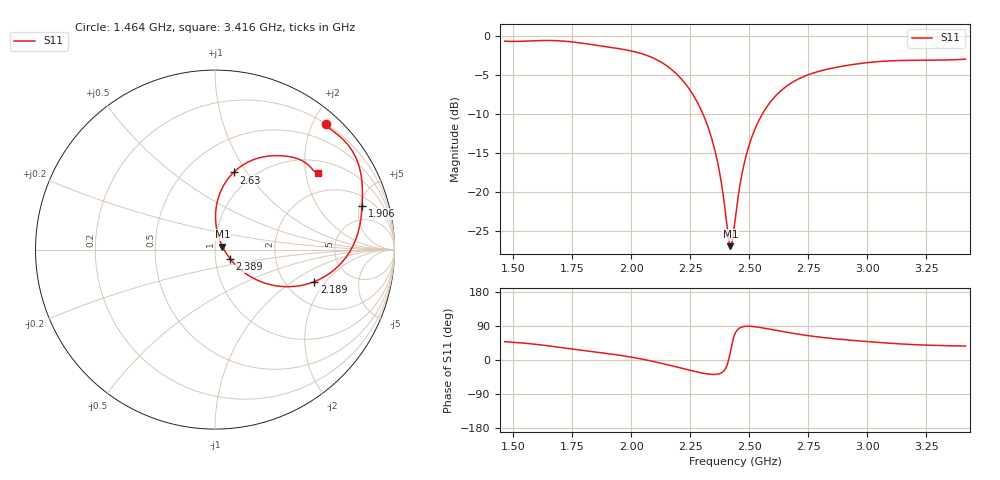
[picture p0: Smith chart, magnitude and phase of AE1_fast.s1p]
! AE1 openEMS fast: lumped port at the feed pad (in-plane on F.Cu to the GND copper at (0.50, 0.00)), not de-embedded
# Hz S RI R 50
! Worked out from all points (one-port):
!   801 points, 1.464 GHz to 3.416 GHz, reference 50 ohm
!   lowest |S11| = -26.9 dB at 2.42 GHz (marker M1), VSWR 1.09, Z = 54.3 + j1.85 ohm
!   |S11| at or under -10 dB: 2.305 GHz to 2.555 GHz (250 MHz wide, 10.3 % of centre)
!   S11 on the Smith chart (normalised r, x): 1.464 GHz: 0.20, +2.21; 1.906 GHz: 2.93, +5.30; 2.189 GHz: 2.87, -1.54; 2.389 GHz: 1.18, -0.12; 2.63 GHz: 0.81, +0.87; 3.416 GHz: 1.33, +2.34
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1.464e9  0.6194 0.6982
1.60064e9  0.7097 0.6172
1.708e9  0.7893 0.502
1.90564e9  0.8196 0.2435
1.952e9  0.814 0.1803
2.07888e9  0.7433 -0.0236
2.13256e9  0.6675 -0.1098
2.18868e9  0.5539 -0.1782
2.196e9  0.5369 -0.1845
2.26188e9  0.3704 -0.2054
2.31556e9  0.2337 -0.1694
2.35704e9  0.1415 -0.1108
2.37412e9  0.1091 -0.0801
2.38876e9  0.0844 -0.0513
2.41072e9  0.0532 -0.0047
2.42048e9  0.0417 0.017
2.4278e9  0.0341 0.0336
2.44e9  0.0232 0.0617
2.45464e9  0.0133 0.0959
2.46928e9  0.00665 0.1302
2.50832e9  0.00457 0.2193
2.562e9  0.0332 0.328
2.63032e9  0.1037 0.4301
2.684e9  0.1693 0.4798
2.7816e9  0.2797 0.5185
2.928e9  0.4014 0.52
3.172e9  0.5276 0.4641
3.416e9  0.5724 0.4292
